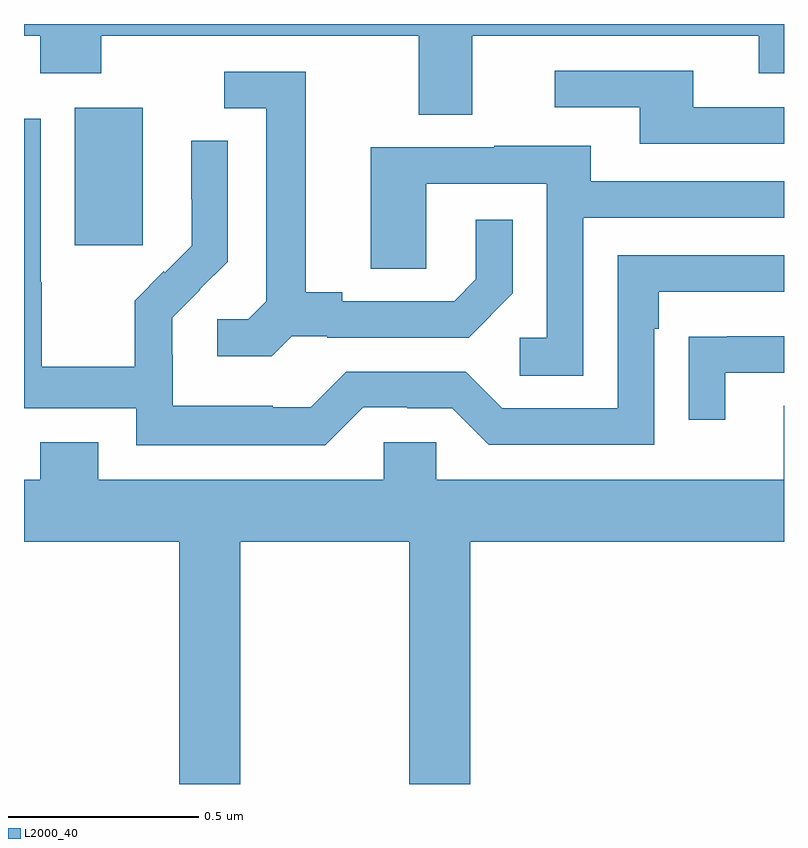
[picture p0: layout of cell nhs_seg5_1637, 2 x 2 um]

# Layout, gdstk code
import gdstk
lib = gdstk.Library(unit=1e-6, precision=1e-09)
def R(c, l, rs):  # rectangles x0, y0, x1, y1
    for r in rs: c.add(gdstk.rectangle(r[:2], r[2:], *l))
def P(c, l, *ps):  # polygons
    for p in ps: c.add(gdstk.Polygon(p, *l))
L2000_40 = (2000, 40)

nhs_seg5_1637 = lib.new_cell('nhs_seg5_1637')
R(nhs_seg5_1637, L2000_40, [(133.133,848.217,133.312,848.578)])
P(nhs_seg5_1637, L2000_40, [(134.179,848.768),(134.933,848.768),(134.933,848.669),(135,848.669),(135,848.799),(133,848.799),(133,848.768),(133.043,848.768),(133.043,848.669),(133.203,848.669),(133.203,848.768),(134.039,848.768),(134.039,848.56),(134.179,848.56)],
  [(135,848.58),(134.761,848.58),(134.761,848.676),(134.397,848.676),(134.397,848.58),(134.621,848.58),(134.621,848.484),(135,848.484)],
  [(133.704,847.977),(133.798,847.977),(133.798,847.974),(134.17,847.974),(134.286,848.09),(134.286,848.284),(134.189,848.284),(134.189,848.127),(134.132,848.07),(133.837,848.07),(133.837,848.093),(133.741,848.093),(133.741,848.673),(133.527,848.673),(133.527,848.577),(133.637,848.577),(133.637,848.069),(133.59,848.022),(133.509,848.022),(133.509,847.925),(133.652,847.925)],
  [(133.893,847.791),(134.009,847.791),(134.009,847.788),(134.127,847.788),(134.223,847.692),(134.658,847.692),(134.658,847.997),(134.671,847.997),(134.671,848.094),(135,848.094),(135,848.19),(134.562,848.19),(134.562,847.788),(134.259,847.788),(134.163,847.884),(133.848,847.884),(133.755,847.791),(133.655,847.791),(133.655,847.795),(133.392,847.795),(133.392,847.929),(133.39,847.929),(133.39,848.026),(133.464,848.1),(133.463,848.101),(133.536,848.174),(133.536,848.492),(133.44,848.492),(133.44,848.338),(133.442,848.338),(133.442,848.216),(133.371,848.145),(133.368,848.148),(133.291,848.071),(133.291,847.897),(133.047,847.897),(133.047,848.12),(133.044,848.12),(133.044,848.55),(133,848.55),(133,847.788),(133.296,847.788),(133.296,847.691),(133.793,847.691)],
  [(134.472,848.289),(135,848.289),(135,848.385),(134.491,848.385),(134.491,848.479),(134.237,848.479),(134.237,848.475),(133.913,848.475),(133.913,848.155),(134.058,848.155),(134.058,848.379),(134.376,848.379),(134.376,847.974),(134.304,847.974),(134.304,847.873),(134.472,847.873)],
  [(134.845,847.881),(135,847.881),(135,847.977),(134.851,847.977),(134.851,847.976),(134.749,847.976),(134.749,847.758),(134.845,847.758)],
  [(133.569,847.436),(134.014,847.436),(134.014,846.799),(134.174,846.799),(134.174,847.436),(135,847.436),(135,847.795),(134.999,847.795),(134.999,847.6),(134.085,847.6),(134.085,847.698),(133.947,847.698),(133.947,847.6),(133.195,847.6),(133.195,847.699),(133.043,847.699),(133.043,847.6),(133,847.6),(133,847.436),(133.409,847.436),(133.409,846.799),(133.569,846.799)])

lib.write_gds('nhs_seg5_1637.gds')
